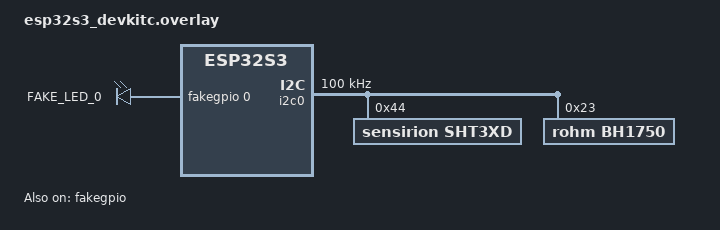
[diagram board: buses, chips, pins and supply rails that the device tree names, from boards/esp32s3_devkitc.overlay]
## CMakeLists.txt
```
# Minimum CMake version required
cmake_minimum_required(VERSION 3.20.0)

set(ZEPHYR_EXTRA_MODULES
    "${CMAKE_SOURCE_DIR}/modules/sensirion_sht3xd_emul"
    "${CMAKE_SOURCE_DIR}/modules/rohm_bh1750_emul"
)

# Include Zephyr
find_package(Zephyr REQUIRED HINTS $ENV{ZEPHYR_BASE})

# Define project
project(
  vitiemul
  VERSION 1.0
  DESCRIPTION "Zephyr project generated by script"
  LANGUAGES C
)

# Add main source file
target_sources(app PRIVATE src/main.c)
```

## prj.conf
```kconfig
# Emul
CONFIG_EMUL=y

# I2C
CONFIG_I2C=y
CONFIG_I2C_EMUL=y

# Sensor drivers
CONFIG_SENSOR=y
CONFIG_ROHM_BH1750_EMUL=y
CONFIG_SENSIRION_SHT3XD_EMUL=y
#CONFIG_BH1750=y
#CONFIG_SHT3XD=y

#GPIO
CONFIG_GPIO=y
CONFIG_GPIO_EMUL=y

# Random
CONFIG_STACK_POINTER_RANDOM=0
CONFIG_TEST_RANDOM_GENERATOR=y
CONFIG_TIMER_RANDOM_GENERATOR=y
CONFIG_TEST_CSPRNG_GENERATOR=y

# General logging
CONFIG_LOG=y
#CONFIG_LOG_DEFAULT_LEVEL=4

# Print Float
CONFIG_CBPRINTF_FP_SUPPORT=y
```

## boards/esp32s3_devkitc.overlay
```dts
&i2c0 {
    status = "okay";
    clock-frequency = <I2C_BITRATE_STANDARD>; /* 100kHz */

    sht3xd: sht3xd@44 {
        compatible = "sensirion,sht3xd";
        reg = <0x44>;
        status = "okay";
        label = "SHT3XD";
    };

    bh1750: bh1750@23 {
        compatible = "rohm,bh1750";
        reg = <0x23>;  /* Typical BH1750 I2C address */
        status = "okay";
        label = "BH1750";
    };
};

/ {
	  aliases {
        led0 = &led0;
	  };


    leds {
    
        compatible = "gpio-leds";
        led0: led_0 {
            gpios = <&fakegpio 0 GPIO_ACTIVE_HIGH>;
            label = "FAKE_LED_0";
        };
    };

    fakegpio: gpio@0 {
        compatible = "zephyr,gpio-emul";
        gpio-controller;
        #gpio-cells = <2>;
        reg = <0 0x1000>;  /* Corrected reg property format */
        #address-cells = <1>;
        #size-cells = <1>;
        ngpios = <32>;
        status = "okay";
    };
};
```

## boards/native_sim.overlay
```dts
&i2c0 {
    status = "okay";
    clock-frequency = <I2C_BITRATE_STANDARD>; /* 100kHz */

    sht3xd: sht3xd@44 {
        compatible = "sensirion,sht3xd-emul";
        reg = <0x44>;
        status = "okay";
        label = "SHT3XD";
    };

    bh1750: bh1750@23 {
        compatible = "rohm,bh1750-emul";
        reg = <0x23>;  /* Typical BH1750 I2C address */
        status = "okay";
        label = "BH1750";
    };

};

&gpio0 {
    status = "okay";
};

&led0 {
    status = "okay";
};
```

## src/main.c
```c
// Kernel and driver includes
#include <zephyr/kernel.h>           // Zephyr kernel (threads, delay, etc.)
#include <zephyr/device.h>           // Device model
#include <zephyr/devicetree.h>       // Devicetree access macros
#include <zephyr/drivers/gpio.h>     // GPIO APIs
#include <zephyr/drivers/i2c.h>      // I2C APIs
#include <zephyr/logging/log.h>      // Logging system
#include <zephyr/random/random.h>    // Random number generation

#ifdef CONFIG_EMUL
#include "sensirion_sht3xd_emul.h"
#include "rohm_bh1750_emul.h"
#endif

LOG_MODULE_REGISTER(main, LOG_LEVEL_INF);

// -----------------------------------------------------------------------------
// Constants and thread config

#define STACK_SIZE 1024

#define LED_PRIORITY 5
#define TEMP_PRIORITY 5
#define LIGHT_PRIORITY 5

#define LED_BLINK_INTERVAL_MS 500
#define TEMP_INTERVAL_MS      1000
#define LIGHT_INTERVAL_MS     1000

// -----------------------------------------------------------------------------
// LED setup

#define LED0_NODE DT_NODELABEL(led0)
static const struct gpio_dt_spec led = GPIO_DT_SPEC_GET(DT_ALIAS(led0), gpios);

// -----------------------------------------------------------------------------
// SHT3XD Emulator I2C sensor setup

#define SHT3XD_NODE DT_NODELABEL(sht3xd_emul)
static const struct i2c_dt_spec sht3x_spec = I2C_DT_SPEC_GET(SHT3XD_NODE);

#ifdef CONFIG_EMUL
static const struct emul *sht3xd_emul = EMUL_DT_GET(SHT3XD_NODE);
#endif

// -----------------------------------------------------------------------------
// BH1750 Emulator setup

#define BH1750_NODE DT_NODELABEL(bh1750_emul)
static const struct i2c_dt_spec bh1750_spec = I2C_DT_SPEC_GET(BH1750_NODE);

#ifdef CONFIG_EMUL
static const struct emul *bh1750_emul = EMUL_DT_GET(BH1750_NODE);
#endif

// -----------------------------------------------------------------------------
// Thread stacks and control blocks

K_THREAD_STACK_DEFINE(led_stack, STACK_SIZE);
K_THREAD_STACK_DEFINE(temp_stack, STACK_SIZE);
K_THREAD_STACK_DEFINE(light_stack, STACK_SIZE);

static struct k_thread led_thread_data;
static struct k_thread temp_thread_data;
static struct k_thread light_thread_data;

// -----------------------------------------------------------------------------
// LED Thread: toggles LED on/off

void led_thread(void *arg1, void *arg2, void *arg3)
{
    int ret;
    bool led_is_on = false;

    while (1) {
        led_is_on = !led_is_on;
        ret = gpio_pin_set_dt(&led, led_is_on);
        if (ret < 0) {
            LOG_ERR("Failed to set LED: %d", ret);
        }
        LOG_INF("LED Blink: %s", led_is_on ? "On" : "Off");
        k_msleep(LED_BLINK_INTERVAL_MS);
    }
}

// -----------------------------------------------------------------------------
// Temperature Thread: fetches SHT3XD sensor data and logs

void temp_thread(void *arg1, void *arg2, void *arg3)
{
    while (1) {
        float temp, hum;

#ifdef CONFIG_EMUL
        if (sht3xd_emul_sample_fetch(sht3xd_emul, &temp, &hum) == 0) {
            LOG_INF("Temperature: %.2f C, Humidity: %.2f %%", temp, hum);
        } else {
            LOG_WRN("Failed to fetch temperature/humidity data");
        }
#endif
        k_msleep(TEMP_INTERVAL_MS);
    }
}

// -----------------------------------------------------------------------------
// Light Thread: power on BH1750, trigger measurement, fetch lux data, log

void light_thread(void *arg1, void *arg2, void *arg3)
{
    const struct device *i2c_dev = bh1750_spec.bus;
    uint8_t cmd;
    uint8_t read_buf[2];
    int ret;
    float lux;

    while (1) {
        // Power on BH1750 (0x01)
        cmd = 0x01;
        ret = i2c_write(i2c_dev, &cmd, 1, bh1750_spec.addr);
        if (ret) {
            LOG_WRN("Failed to power on BH1750: %d", ret);
            k_msleep(LIGHT_INTERVAL_MS);
            continue;
        }

        // Start one-time measurement (0x23 - One-Time L-Resolution Mode)
        cmd = 0x23;
        ret = i2c_write(i2c_dev, &cmd, 1, bh1750_spec.addr);
        if (ret) {
            LOG_WRN("Failed to start BH1750 measurement: %d", ret);
            k_msleep(LIGHT_INTERVAL_MS);
            continue;
        }

        // Measurement time delay (approx 180 ms for BH1750)
        k_msleep(180);

        // Read 2 bytes from BH1750
        ret = i2c_read(i2c_dev, read_buf, 2, bh1750_spec.addr);
        if (ret) {
            LOG_WRN("Failed to read BH1750 data: %d", ret);
        } else {
            uint16_t raw = (read_buf[0] << 8) | read_buf[1];
            lux = raw / 1.2f;
            LOG_INF("Light Intensity: %.2f lux", lux);
        }

        k_msleep(LIGHT_INTERVAL_MS);
    }
}

// -----------------------------------------------------------------------------
// Main: initialize devices and start threads

int main(void)
{
    LOG_INF("Starting Zephyr Sensor Project...");

    if (!device_is_ready(led.port)) {
        LOG_ERR("LED GPIO device not ready");
        return 0;
    }

    if (!device_is_ready(sht3x_spec.bus)) {
        LOG_ERR("I2C bus for SHT3XD not ready");
        return 0;
    }

    if (!device_is_ready(bh1750_spec.bus)) {
        LOG_ERR("I2C bus for BH1750 not ready");
        return 0;
    }

#ifdef CONFIG_EMUL
    if (!device_is_ready(sht3xd_emul->dev)) {
        LOG_ERR("SHT3XD emulator device not ready");
        return 0;
    }
    if (!device_is_ready(bh1750_emul->dev)) {
        LOG_ERR("BH1750 emulator device not ready");
        return 0;
    }
#endif

    if (gpio_pin_configure_dt(&led, GPIO_OUTPUT_ACTIVE) < 0) {
        LOG_ERR("Failed to configure LED GPIO");
        return 0;
    }

    LOG_INF("Devices ready. Starting threads...");

    k_thread_create(&led_thread_data, led_stack, STACK_SIZE,
                    led_thread, NULL, NULL, NULL,
                    LED_PRIORITY, 0, K_NO_WAIT);

    k_thread_create(&temp_thread_data, temp_stack, STACK_SIZE,
                    temp_thread, NULL, NULL, NULL,
                    TEMP_PRIORITY, 0, K_NO_WAIT);

    k_thread_create(&light_thread_data, light_stack, STACK_SIZE,
                    light_thread, NULL, NULL, NULL,
                    LIGHT_PRIORITY, 0, K_NO_WAIT);

    return 0;
}
```
